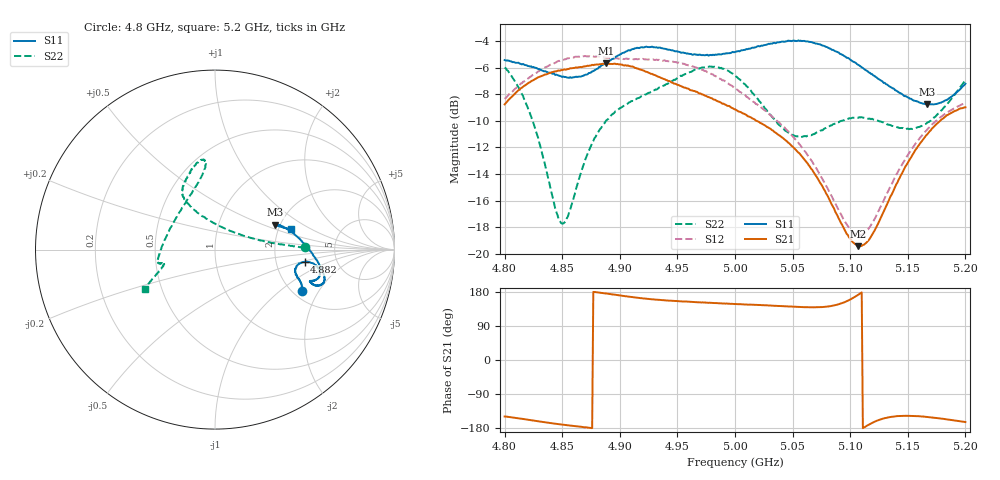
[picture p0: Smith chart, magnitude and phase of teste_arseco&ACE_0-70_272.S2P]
! Network Analyzer HP8722D
! Hewlett-Packard
! Data name: Linha & Wilkinson
! Saver's name: Rodrigo Anjos
! Comments: Teste da utilização de aquisição
! continua pelo VNA HP8722D
! Time and date: 8/5/2025 15:01
!  Frequency  S11  S21  S12  S22
# HZ  S  MA R 50
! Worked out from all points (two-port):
!   401 points, 4.8 GHz to 5.2 GHz, reference 50 ohm
!   highest |S21| = -5.68 dB at 4.888 GHz (marker M1); lowest = -19.4 dB at 5.107 GHz (marker M2)
!   |S21| within 3 dB of the highest: 4.801 GHz to 4.989 GHz (187.6 MHz wide, 3.83 % of centre)
!   lowest |S11| = -8.8 dB at 5.167 GHz (marker M3), VSWR 2.15, Z = 94.4 + j30.3 ohm
!   |S11| at or under -10 dB: nowhere
!   |S22| runs from -17.7 to -5.9 dB; largest |S21 - S12| = 1.1
!   S11 on the Smith chart (normalised r, x): 4.8 GHz: 2.24, -1.44; 4.882 GHz: 2.92, -0.54; 5.2 GHz: 2.33, +0.65
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4.8e9  0.5356 -25.2  0.3648 -149.0  0.3825 10.5  0.5019 1.4
4.812e9  0.5234 -22.2  0.4122 -153.9  0.4282 8.7  0.4228 2.7
4.823e9  0.5072 -20.5  0.4458 -158.9  0.4653 7.1  0.3284 6.2
4.845e9  0.4722 -16.7  0.4859 -168.5  0.5266 3.7  0.1432 42.3
4.849e9  0.4653 -15.9  0.4912 -170.1  0.5343 3.0  0.1304 59.5
4.855e9  0.4602 -14.6  0.4952 -172.4  0.5438 2.1  0.1382 85.2
4.867e9  0.4657 -10.8  0.5037 -176.5  0.5526 0.4  0.2064 111.9
4.882e9  0.504 -7.9  0.5163 177.8  0.5522 -0.8  0.2908 120.0
4.888e9  0.5224 -7.9  0.5201 175.4  0.5475 -1.1  0.3165 120.9
4.913e9  0.5932 -11.0  0.5009 165.1  0.5398 -0.4  0.3799 118.7
4.934e9  0.5973 -15.5  0.4626 158.6  0.5373 -1.4  0.422 112.7
4.973e9  0.5591 -18.4  0.3954 151.6  0.4887 -5.0  0.5022 99.8
5e9  0.5745 -19.4  0.349 147.6  0.4197 -5.3  0.4698 96.7
5.045e9  0.6303 -17.5  0.265 141.4  0.2918 3.1  0.2883 132.9
5.067e9  0.6249 -13.3  0.2069 139.0  0.222 9.4  0.2804 164.8
5.096e9  0.5508 -3.7  0.1209 153.8  0.1309 34.2  0.3205 -171.3
5.107e9  0.5141 1.7  0.1067 172.3  0.1174 54.9  0.3246 -167.7
5.117e9  0.4796 6.7  0.1139 -169.3  0.1259 74.8  0.3223 -166.3
5.134e9  0.4265 14.6  0.1604 -150.8  0.1757 94.8  0.3058 -165.9
5.167e9  0.3645 22.4  0.2817 -150.3  0.2936 102.4  0.3118 -161.5
5.183e9  0.3779 20.3  0.3291 -156.3  0.3374 102.4  0.36 -156.6
5.2e9  0.4361 15.0  0.3558 -163.7  0.369 102.8  0.4493 -150.8
